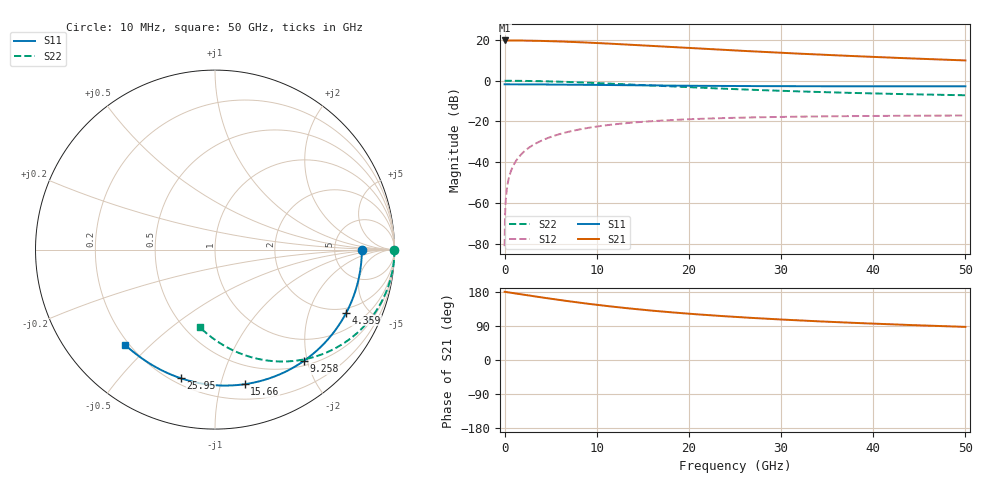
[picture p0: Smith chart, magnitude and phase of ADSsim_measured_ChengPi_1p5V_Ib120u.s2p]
! Created Wed Apr 01 23:56:49 2026
# hz S ma R 50
! 2 Port Network Data from SP1.SP block
! freq  magS11  angS11  magS21  angS21  magS12  angS12  magS22  angS22
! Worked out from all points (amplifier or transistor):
!   1001 points, 10 MHz to 50 GHz, reference 50 ohm
!   highest |S21| = 19.8 dB at 10 MHz (marker M1)
!   |S21| within 3 dB of that: start of sweep to 17.27 GHz
!   unconditionally stable (mu >= 1): nowhere
!   at 8.308 GHz: K = 0.06, MSG = 21.3 dB, |S12| = -23.7 dB
!   at 25 GHz: K = 0.18, MSG = 16.5 dB, |S12| = -18.2 dB
!   at 50 GHz: K = 0.35, MSG = 13.5 dB, |S12| = -17.1 dB
!   S11 on the Smith chart (normalised r, x): 10 MHz: 10.00, -0.05; 4.359 GHz: 1.75, -3.60; 9.258 GHz: 0.58, -1.94; 15.66 GHz: 0.33, -1.19; 25.95 GHz: 0.23, -0.74; 50 GHz: 0.18, -0.42
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1e7  0.8182 -0.1  9.775 180.0  8.673e-05 90.0  1 -0.0
3.5993e8  0.8181 -2.2  9.772 178.7  0.003121 88.8  0.9998 -1.5
6.0988e8  0.818 -3.6  9.769 177.7  0.005286 87.9  0.9994 -2.5
9.5981e8  0.8178 -5.7  9.76 176.4  0.008312 86.7  0.9986 -3.9
2.25955e9  0.8163 -13.4  9.693 171.6  0.01943 82.3  0.9924 -9.1
4.35913e9  0.8116 -25.6  9.48 164.0  0.03667 75.4  0.9727 -17.3
6.35873e9  0.8051 -36.6  9.177 157.1  0.05178 69.2  0.9448 -24.8
8.35833e9  0.7973 -46.9  8.804 150.6  0.0653 63.4  0.9107 -31.8
9.25815e9  0.7935 -51.3  8.622 147.9  0.07083 60.9  0.8939 -34.8
1.070786e10  0.7874 -58.0  8.315 143.6  0.07901 57.2  0.866 -39.5
1.225755e10  0.781 -64.7  7.979 139.4  0.08679 53.5  0.8356 -44.1
1.390722e10  0.7744 -71.2  7.622 135.2  0.09406 49.8  0.8034 -48.8
1.565687e10  0.7679 -77.6  7.25 131.1  0.1007 46.3  0.7701 -53.3
1.670666e10  0.7643 -81.2  7.033 128.7  0.1043 44.3  0.7509 -55.9
2.075585e10  0.7524 -93.1  6.257 120.8  0.1153 37.7  0.6829 -64.8
2.5005e10  0.7433 -103.0  5.555 113.8  0.1233 32.1  0.6231 -72.6
2.595481e10  0.7417 -104.9  5.414 112.4  0.1247 31.0  0.6113 -74.2
2.95041e10  0.7367 -111.4  4.933 107.5  0.1292 27.3  0.5718 -79.6
3.335333e10  0.7331 -117.1  4.484 102.9  0.1328 24.0  0.5361 -84.8
3.730254e10  0.7308 -122.1  4.091 98.6  0.1355 21.0  0.5061 -89.4
4.170166e10  0.7296 -126.6  3.718 94.4  0.1377 18.2  0.4789 -94.0
5e10  0.7301 -133.1  3.159 87.4  0.1403 13.9  0.4411 -101.1
